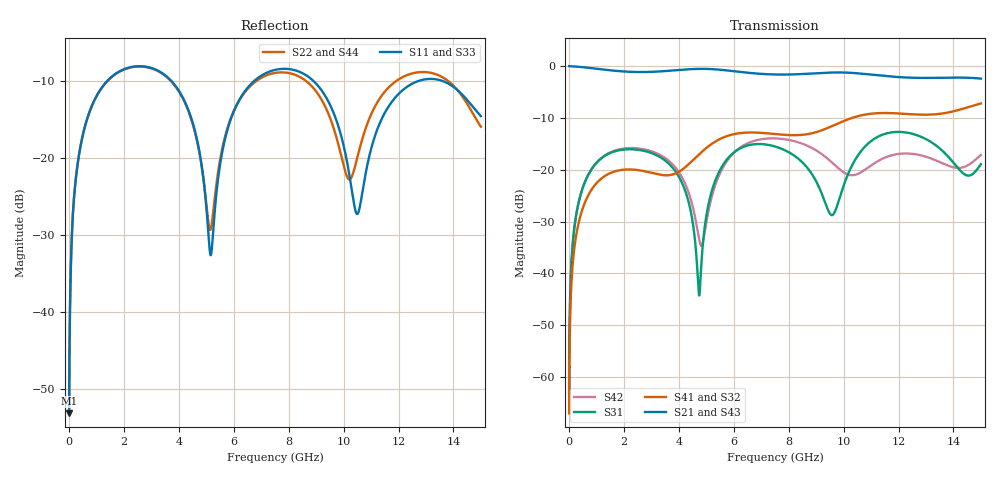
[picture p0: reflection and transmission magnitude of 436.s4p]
! Created with skrf 1.8.0 (http://scikit-rf.org).
# GHz S RI R 50.0
!freq ReS11 ImS11 ReS12 ImS12 ReS13 ImS13
! ReS14 ImS14
! ReS21 ImS21 ReS22 ImS22 ReS23 ImS23
! ReS24 ImS24
! ReS31 ImS31 ReS32 ImS32 ReS33 ImS33
! ReS34 ImS34
! ReS41 ImS41 ReS42 ImS42 ReS43 ImS43
! ReS44 ImS44
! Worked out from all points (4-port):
!   2499 points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, 5 MHz to 15 GHz, reference 50 ohm
!   strongest paths, dB at 5 MHz, 3.476 GHz, 7.19 GHz, 11.1 GHz, 15 GHz:
!     S21: 0.0, -1.0, -1.6, -1.7, -2.4
!     S43: 0.0, -1.0, -1.6, -1.7, -2.4
!     S41: -67.0, -21.1, -13.0, -9.1, -7.2
!     S32: -67.0, -21.2, -13.0, -9.2, -7.2
!     S31: -63.0, -18.1, -15.1, -14.1, -18.9
!     S42: -63.0, -17.6, -14.0, -18.8, -17.1
!   lowest |S11| = -53.2 dB at 5 MHz (marker M1), VSWR 1.00, Z = 50.2 + j0.132 ohm
!   |S11| at or under -10 dB: 3.719 GHz to 6.757 GHz (3.038 GHz wide, 58 % of centre); 8.891 GHz to 12.76 GHz (3.873 GHz wide, 35.8 % of centre); 13.57 GHz to end of sweep (the widest 3 of 4)
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0.005  0.00174 0.00132  0.9982 -0.00339  8.81e-05 0.000703  -8.55e-05 -0.000439
       0.9982 -0.00339  0.00174 0.00132  -8.55e-05 -0.000439  8.82e-05 0.000703
       8.81e-05 0.000703  -8.55e-05 -0.000439  0.00174 0.00132  0.9982 -0.00339
       -8.55e-05 -0.000439  8.82e-05 0.000703  0.9982 -0.00339  0.00174 0.00132
0.3126303  0.0266 0.0864  0.9636 -0.2101  0.0122 0.0415  -0.0104 -0.0255
           0.9636 -0.2101  0.0265 0.0864  -0.0104 -0.0255  0.0128 0.0414
           0.0122 0.0415  -0.0104 -0.0255  0.0266 0.0863  0.9636 -0.2101
           -0.0104 -0.0255  0.0128 0.0414  0.9636 -0.2101  0.0265 0.0864
1.469362  0.2726 0.1764  0.5459 -0.731  0.1274 0.0667  -0.0918 -0.00547
          0.5459 -0.731  0.2705 0.1778  -0.0916 -0.00573  0.1339 0.0579
          0.1274 0.0667  -0.0916 -0.00573  0.2727 0.1763  0.5459 -0.731
          -0.0918 -0.00547  0.1339 0.0579  0.5459 -0.731  0.2704 0.1779
4.745727  0.0471 -0.1001  -0.8878 -0.3096  0.00591 0.00168  -0.0403 0.1358
          -0.8878 -0.3096  0.0563 -0.0926  -0.0441 0.1346  -0.0182 -0.0103
          0.00591 0.00168  -0.0441 0.1346  0.0463 -0.1009  -0.8878 -0.3096
          -0.0403 0.1358  -0.0182 -0.0103  -0.8878 -0.3096  0.0575 -0.0925
7.928303  0.3759 -0.0309  -0.0307 0.8283  0.1469 -0.0359  0.2072 -0.0632
          -0.0307 0.8283  0.3558 -0.019  0.2068 -0.0538  0.1483 -0.1276
          0.1469 -0.0359  0.2068 -0.0538  0.3785 -0.0329  -0.0302 0.8279
          0.2072 -0.0632  0.1483 -0.1276  -0.0302 0.8279  0.3553 -0.0164
10.70446  0.0519 0.035  0.8405 -0.0601  0.1198 0.1048  -0.0491 -0.3339
          0.8405 -0.0601  0.1023 0.0904  -0.0307 -0.3358  -0.0266 0.0934
          0.1198 0.1048  -0.0307 -0.3358  0.05 0.0337  0.8406 -0.06
          -0.0491 -0.3339  -0.0266 0.0934  0.8406 -0.06  0.1068 0.0843
15  0.177 -0.0574  -0.6431 -0.3998  -0.0843 0.0755  -0.2237 0.3746
    -0.6431 -0.3998  0.1502 -0.0518  -0.2528 0.3582  -0.1188 0.0721
    -0.0843 0.0755  -0.2528 0.3582  0.1692 -0.0554  -0.6449 -0.3971
    -0.2237 0.3746  -0.1188 0.0721  -0.6449 -0.3971  0.1573 -0.053
